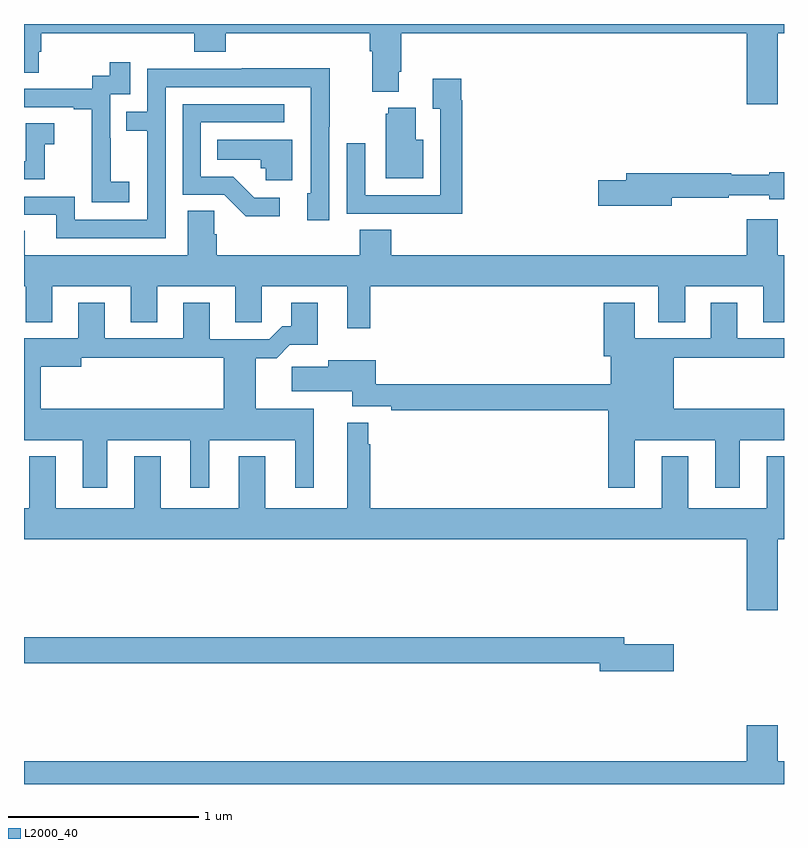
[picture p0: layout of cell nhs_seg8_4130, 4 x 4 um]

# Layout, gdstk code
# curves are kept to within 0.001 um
import gdstk
lib = gdstk.Library(unit=1e-6, precision=1e-09)
def P(c, l, *ps):  # polygons
    for p in ps: c.add(gdstk.Polygon(p, *l))
L2000_40 = (2000, 40)

nhs_seg8_4130 = lib.new_cell('nhs_seg8_4130')
P(nhs_seg8_4130, L2000_40, [(368.968,1097.852),(369,1097.852),(369,1097.9),(365,1097.9),(365,1097.644),(365.077,1097.644),(365.077,1097.754),(365.09,1097.754),(365.09,1097.852),(365.897,1097.852),(365.897,1097.753),(366.062,1097.753),(366.062,1097.852),(366.821,1097.852),(366.821,1097.756),(366.833,1097.756),(366.833,1097.543),(366.973,1097.543),(366.973,1097.65),(366.986,1097.65),(366.986,1097.852),(368.804,1097.852),(368.804,1097.478),(368.968,1097.478)],
  [(365.554,1097.071),(365.456,1097.071),(365.456,1097.3),(365.454,1097.3),(365.454,1097.529),(365.559,1097.529),(365.559,1097.698),(365.451,1097.698),(365.451,1097.628),(365.358,1097.628),(365.358,1097.559),(365,1097.559),(365,1097.463),(365.261,1097.463),(365.261,1097.451),(365.357,1097.451),(365.357,1097.167),(365.356,1097.167),(365.356,1096.961),(365.554,1096.961)],
  [(365.745,1097.568),(366.509,1097.568),(366.509,1097.356),(366.51,1097.356),(366.51,1097.01),(366.491,1097.01),(366.491,1096.866),(366.606,1096.866),(366.606,1097.359),(366.609,1097.359),(366.609,1097.666),(366.145,1097.666),(366.145,1097.664),(365.649,1097.664),(365.649,1097.439),(365.539,1097.439),(365.539,1097.338),(365.649,1097.338),(365.649,1096.869),(365.268,1096.869),(365.268,1096.992),(365,1096.992),(365,1096.896),(365.171,1096.896),(365.171,1096.773),(365.745,1096.773)],
  [(367.307,1097.498),(367.3,1097.498),(367.3,1097.611),(367.151,1097.611),(367.151,1097.455),(367.191,1097.455),(367.191,1096.998),(366.795,1096.998),(366.795,1097.272),(366.699,1097.272),(366.699,1096.902),(367.015,1096.902),(367.015,1096.901),(367.307,1096.901)],
  [(366.346,1096.986),(366.211,1096.986),(366.1,1097.097),(365.931,1097.097),(365.931,1097.382),(366.37,1097.382),(366.37,1097.478),(365.835,1097.478),(365.835,1097.001),(366.054,1097.001),(366.167,1096.889),(366.346,1096.889)],
  [(367.102,1097.29),(367.063,1097.29),(367.063,1097.458),(366.917,1097.458),(366.917,1097.427),(366.905,1097.427),(366.905,1097.087),(367.102,1097.087)],
  [(365.109,1097.267),(365.158,1097.267),(365.158,1097.377),(365.01,1097.377),(365.01,1097.178),(365,1097.178),(365,1097.082),(365.109,1097.082)],
  [(366.412,1097.29),(366.016,1097.29),(366.016,1097.186),(366.247,1097.186),(366.247,1097.142),(366.273,1097.142),(366.273,1097.078),(366.412,1097.078)],
  [(368.41,1096.986),(368.708,1096.986),(368.708,1096.998),(368.922,1096.998),(368.922,1096.978),(369,1096.978),(369,1097.12),(368.922,1097.12),(368.922,1097.107),(368.722,1097.107),(368.722,1097.114),(368.171,1097.114),(368.171,1097.078),(368.022,1097.078),(368.022,1096.943),(368.41,1096.943)],
  [(365,1096.811),(365,1096.52),(365.009,1096.52),(365.009,1096.331),(365.149,1096.331),(365.149,1096.52),(365.561,1096.52),(365.561,1096.33),(365.701,1096.33),(365.701,1096.52),(366.113,1096.52),(366.113,1096.33),(366.252,1096.33),(366.252,1096.52),(366.701,1096.52),(366.701,1096.299),(366.823,1096.299),(366.823,1096.52),(368.339,1096.52),(368.339,1096.33),(368.479,1096.33),(368.479,1096.52),(368.891,1096.52),(368.891,1096.33),(369,1096.33),(369,1096.684),(368.968,1096.684),(368.968,1096.873),(368.804,1096.873),(368.804,1096.684),(366.932,1096.684),(366.932,1096.817),(366.767,1096.817),(366.767,1096.684),(366.014,1096.684),(366.014,1096.793),(366,1096.793),(366,1096.916),(365.861,1096.916),(365.861,1096.684),(365.005,1096.684),(365.005,1096.811)],
  [(368.215,1095.71),(368.639,1095.71),(368.639,1095.459),(368.767,1095.459),(368.767,1095.71),(369,1095.71),(369,1095.874),(368.419,1095.874),(368.419,1096.144),(369,1096.144),(369,1096.245),(368.755,1096.245),(368.755,1096.432),(368.615,1096.432),(368.615,1096.245),(368.215,1096.245),(368.215,1096.432),(368.051,1096.432),(368.051,1096.152),(368.087,1096.152),(368.087,1096.004),(366.851,1096.004),(366.851,1096.129),(366.602,1096.129),(366.602,1096.097),(366.408,1096.097),(366.408,1095.968),(366.728,1095.968),(366.728,1095.888),(366.934,1095.888),(366.934,1095.868),(368.075,1095.868),(368.075,1095.459),(368.215,1095.459)],
  [(365.309,1095.71),(365.309,1095.459),(365.437,1095.459),(365.437,1095.71),(365.876,1095.71),(365.876,1095.459),(365.974,1095.459),(365.974,1095.71),(366.428,1095.71),(366.428,1095.459),(366.526,1095.459),(366.526,1095.874),(366.22,1095.874),(366.22,1096.142),(366.329,1096.142),(366.398,1096.211),(366.547,1096.211),(366.547,1096.432),(366.407,1096.432),(366.407,1096.309),(366.358,1096.309),(366.291,1096.242),(365.977,1096.242),(365.977,1096.432),(365.837,1096.432),(365.837,1096.245),(365.425,1096.245),(365.425,1096.432),(365.285,1096.432),(365.285,1096.246),(365,1096.246),(365,1095.874),(365.089,1095.874),(365.089,1096.097),(365.302,1096.097),(365.302,1096.144),(366.05,1096.144),(366.05,1095.874),(365,1095.874),(365,1095.71)],
  [(368.968,1095.188),(369,1095.188),(369,1095.625),(368.909,1095.625),(368.909,1095.352),(368.497,1095.352),(368.497,1095.625),(368.357,1095.625),(368.357,1095.352),(366.823,1095.352),(366.823,1095.689),(366.812,1095.689),(366.812,1095.802),(366.701,1095.802),(366.701,1095.352),(366.271,1095.352),(366.271,1095.625),(366.131,1095.625),(366.131,1095.352),(365.719,1095.352),(365.719,1095.625),(365.579,1095.625),(365.579,1095.352),(365.167,1095.352),(365.167,1095.625),(365.027,1095.625),(365.027,1095.352),(365,1095.352),(365,1095.188),(368.804,1095.188),(368.804,1094.814),(368.968,1094.814)],
  [(368.419,1094.636),(368.158,1094.636),(368.158,1094.672),(365,1094.672),(365,1094.536),(368.03,1094.536),(368.03,1094.494),(368.419,1094.494)],
  [(365,1093.9),(369,1093.9),(369,1094.02),(368.968,1094.02),(368.968,1094.209),(368.804,1094.209),(368.804,1094.02),(365,1094.02)])

lib.write_gds('nhs_seg8_4130.gds')
